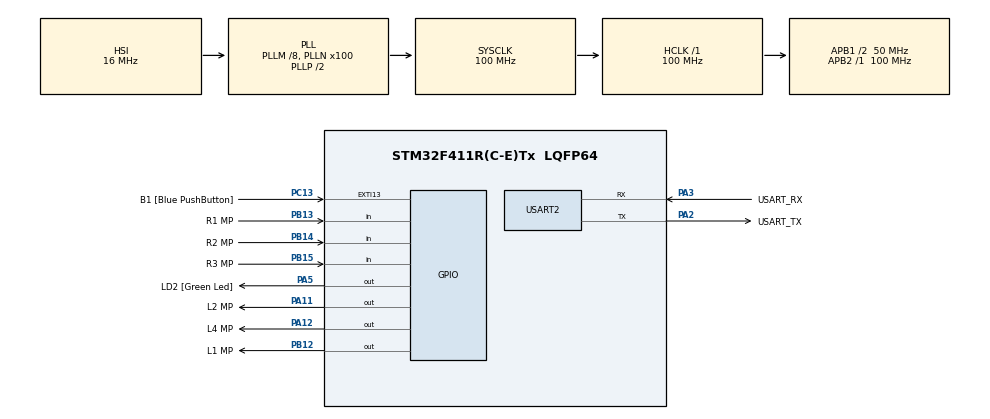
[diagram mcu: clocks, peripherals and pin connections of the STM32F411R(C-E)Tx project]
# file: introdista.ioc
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Mcu.Family=STM32F4
Mcu.Name=STM32F411R(C-E)Tx
Mcu.Package=LQFP64
NVIC.PriorityGroup=NVIC_PRIORITYGROUP_0
NVIC.TIM1_TRG_COM_TIM11_IRQn=true\:0\:0\:false\:false\:true\:true\:true
PA11.GPIO_Label=L2 MP
PA11.GPIO_ModeDefaultOutputPP=GPIO_MODE_OUTPUT_OD
PA11.GPIO_PuPd=GPIO_NOPULL
PA11.GPIO_Speed=GPIO_SPEED_FREQ_LOW
PA11.PinState=GPIO_PIN_RESET
PA11.Signal=GPIO_Output
PA12.GPIO_Label=L4 MP
PA12.GPIO_ModeDefaultOutputPP=GPIO_MODE_OUTPUT_OD
PA12.GPIO_PuPd=GPIO_NOPULL
PA12.GPIO_Speed=GPIO_SPEED_FREQ_LOW
PA12.PinState=GPIO_PIN_RESET
PA12.Signal=GPIO_Output
PA13.GPIO_Label=TMS
PA13.Mode=Serial_Wire
PA13.Signal=SYS_JTMS-SWDIO
PA14.GPIO_Label=TCK
PA14.Mode=Serial_Wire
PA14.Signal=SYS_JTCK-SWCLK
PA2.GPIO_Label=USART_TX
PA2.Mode=Asynchronous
PA2.Signal=USART2_TX
PA3.GPIO_Label=USART_RX
PA3.Mode=Asynchronous
PA3.Signal=USART2_RX
PA5.GPIO_Label=LD2 [Green Led]
PA5.Signal=GPIO_Output
PB12.GPIO_Label=L1 MP
PB12.GPIO_ModeDefaultOutputPP=GPIO_MODE_OUTPUT_OD
PB12.GPIO_PuPd=GPIO_NOPULL
PB12.GPIO_Speed=GPIO_SPEED_FREQ_LOW
PB12.PinState=GPIO_PIN_RESET
PB12.Signal=GPIO_Output
PB13.GPIO_Label=R1 MP
PB13.GPIO_Mode=GPIO_MODE_INPUT
PB13.GPIO_PuPd=GPIO_PULLUP
PB13.Signal=GPIO_Input
PB14.GPIO_Label=R2 MP
PB14.GPIO_Mode=GPIO_MODE_INPUT
PB14.GPIO_PuPd=GPIO_PULLUP
PB14.Signal=GPIO_Input
PB15.GPIO_Label=R3 MP
PB15.GPIO_Mode=GPIO_MODE_INPUT
PB15.GPIO_PuPd=GPIO_PULLUP
PB15.Signal=GPIO_Input
PB3.GPIO_Label=SWO
PB3.Signal=SYS_JTDO-SWO
PC13-ANTI_TAMP.GPIO_Label=B1 [Blue PushButton]
PC13-ANTI_TAMP.GPIO_ModeDefaultEXTI=GPIO_MODE_IT_FALLING
PC13-ANTI_TAMP.Signal=GPXTI13
PC14-OSC32_IN.Mode=LSE-External-Oscillator
PC14-OSC32_IN.Signal=RCC_OSC32_IN
PC15-OSC32_OUT.Mode=LSE-External-Oscillator
PC15-OSC32_OUT.Signal=RCC_OSC32_OUT
PH0\ -\ OSC_IN.Mode=HSE-External-Clock-Source
PH0\ -\ OSC_IN.Signal=RCC_OSC_IN
PH1\ -\ OSC_OUT.Mode=HSE-External-Clock-Source
PH1\ -\ OSC_OUT.Signal=RCC_OSC_OUT
ProjectManager.HeapSize=0x200
ProjectManager.StackSize=0x400
ProjectManager.TargetToolchain=STM32CubeIDE
RCC.48MHZClocksFreq_Value=50000000
RCC.AHBFreq_Value=100000000
RCC.APB1CLKDivider=RCC_HCLK_DIV2
RCC.APB1Freq_Value=50000000
RCC.APB1TimFreq_Value=100000000
RCC.APB2Freq_Value=100000000
RCC.APB2TimFreq_Value=100000000
RCC.CortexFreq_Value=100000000
RCC.FLatency-AdvancedSettings=FLASH_LATENCY_3
RCC.HCLKFreq_Value=100000000
RCC.HSE_VALUE=8000000
RCC.HSI_VALUE=16000000
RCC.PLLM=8
RCC.PLLN=100
RCC.SYSCLKFreq_VALUE=100000000
RCC.SYSCLKSource=RCC_SYSCLKSOURCE_PLLCLK
RCC.VCOOutputFreq_Value=200000000
TIM11.Prescaler=99
USART2.VirtualMode=VM_ASYNC
VP_TIM11_VS_ClockSourceINT.Mode=Enable_Timer
board=NUCLEO-F411RE

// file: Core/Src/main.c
/* USER CODE BEGIN Header */
/**
  ******************************************************************************
  * @file           : main.c
  * @brief          : Main program body
  ******************************************************************************
  * @attention
  *
  * Copyright (c) 2022 STMicroelectronics.
  * All rights reserved.
  *
  * This software is licensed under terms that can be found in the LICENSE file
  * in the root directory of this software component.
  * If no LICENSE file comes with this software, it is provided AS-IS.
  *
  ******************************************************************************
  */
/* USER CODE END Header */
#include "main.h"

/* USER CODE BEGIN PM */
uint64_t _micros = 0; //(5) [TIM] microsec
/* USER CODE END PM */

TIM_HandleTypeDef htim11;

UART_HandleTypeDef huart2;

/* USER CODE BEGIN PV */
// (1) [GPIO] Matrix brd
uint16_t BtnState = 0b0; // raw input
uint8_t ShiftPos = 0; // position button pressed
uint16_t CodePos  = 0; // x x x position log data before confirmed
uint16_t TargetOkPos[2] = {0}; // ok confirmed position
uint8_t MtxRdTgr = 0;  // trigger for btn manager
uint32_t BtnMtxtimestp = 0;

/* USER CODE END PV */

void SystemClock_Config(void);
static void MX_GPIO_Init(void);
static void MX_USART2_UART_Init(void);
static void MX_TIM11_Init(void);
/* USER CODE BEGIN PFP */
uint64_t micros();  // (5) [TIM] microsec func

// (1) [GPIO] Matrix brd
void BtnMtxRd();
void NumpadManager();
void BMtxShift();
/* USER CODE END PFP */

int main(void)
{

  /* MCU Configuration--------------------------------------------------------*/

  /* Reset of all peripherals, Initializes the Flash interface and the Systick. */
  HAL_Init();

  /* Configure the system clock */
  SystemClock_Config();

  /* Initialize all configured peripherals */
  MX_GPIO_Init();
  MX_USART2_UART_Init();
  MX_TIM11_Init();
  /* USER CODE BEGIN 2 */
  // (5) [TIM] Start microsec
 	HAL_TIM_Base_Start_IT(&htim11);
  /* USER CODE END 2 */

  /* Infinite loop */
  while (1)
  {

    /* USER CODE BEGIN 3 */
	  // (1) [GPIO] Function
	  BtnMtxRd();
	  NumpadManager();
  }
  /* USER CODE END 3 */
}

void SystemClock_Config(void)
{
  RCC_OscInitTypeDef RCC_OscInitStruct = {0};
  RCC_ClkInitTypeDef RCC_ClkInitStruct = {0};

  /** Configure the main internal regulator output voltage
  */
  __HAL_RCC_PWR_CLK_ENABLE();
  __HAL_PWR_VOLTAGESCALING_CONFIG(PWR_REGULATOR_VOLTAGE_SCALE1);
  /** Initializes the RCC Oscillators according to the specified parameters
  * in the RCC_OscInitTypeDef structure.
  */
  RCC_OscInitStruct.OscillatorType = RCC_OSCILLATORTYPE_HSI;
  RCC_OscInitStruct.HSIState = RCC_HSI_ON;
  RCC_OscInitStruct.HSICalibrationValue = RCC_HSICALIBRATION_DEFAULT;
  RCC_OscInitStruct.PLL.PLLState = RCC_PLL_ON;
  RCC_OscInitStruct.PLL.PLLSource = RCC_PLLSOURCE_HSI;
  RCC_OscInitStruct.PLL.PLLM = 8;
  RCC_OscInitStruct.PLL.PLLN = 100;
  RCC_OscInitStruct.PLL.PLLP = RCC_PLLP_DIV2;
  RCC_OscInitStruct.PLL.PLLQ = 4;
  if (HAL_RCC_OscConfig(&RCC_OscInitStruct) != HAL_OK)
  {
    Error_Handler();
  }
  /** Initializes the CPU, AHB and APB buses clocks
  */
  RCC_ClkInitStruct.ClockType = RCC_CLOCKTYPE_HCLK|RCC_CLOCKTYPE_SYSCLK
                              |RCC_CLOCKTYPE_PCLK1|RCC_CLOCKTYPE_PCLK2;
  RCC_ClkInitStruct.SYSCLKSource = RCC_SYSCLKSOURCE_PLLCLK;
  RCC_ClkInitStruct.AHBCLKDivider = RCC_SYSCLK_DIV1;
  RCC_ClkInitStruct.APB1CLKDivider = RCC_HCLK_DIV2;
  RCC_ClkInitStruct.APB2CLKDivider = RCC_HCLK_DIV1;

  if (HAL_RCC_ClockConfig(&RCC_ClkInitStruct, FLASH_LATENCY_3) != HAL_OK)
  {
    Error_Handler();
  }
}

static void MX_TIM11_Init(void)
{

  htim11.Instance = TIM11;
  htim11.Init.Prescaler = 99;
  htim11.Init.CounterMode = TIM_COUNTERMODE_UP;
  htim11.Init.Period = 65535;
  htim11.Init.ClockDivision = TIM_CLOCKDIVISION_DIV1;
  htim11.Init.AutoReloadPreload = TIM_AUTORELOAD_PRELOAD_DISABLE;
  if (HAL_TIM_Base_Init(&htim11) != HAL_OK)
  {
    Error_Handler();
  }

}

static void MX_USART2_UART_Init(void)
{

  huart2.Instance = USART2;
  huart2.Init.BaudRate = 115200;
  huart2.Init.WordLength = UART_WORDLENGTH_8B;
  huart2.Init.StopBits = UART_STOPBITS_1;
  huart2.Init.Parity = UART_PARITY_NONE;
  huart2.Init.Mode = UART_MODE_TX_RX;
  huart2.Init.HwFlowCtl = UART_HWCONTROL_NONE;
  huart2.Init.OverSampling = UART_OVERSAMPLING_16;
  if (HAL_UART_Init(&huart2) != HAL_OK)
  {
    Error_Handler();
  }

}

static void MX_GPIO_Init(void)
{
  GPIO_InitTypeDef GPIO_InitStruct = {0};

  /* GPIO Ports Clock Enable */
  __HAL_RCC_GPIOC_CLK_ENABLE();
  __HAL_RCC_GPIOH_CLK_ENABLE();
  __HAL_RCC_GPIOA_CLK_ENABLE();
  __HAL_RCC_GPIOB_CLK_ENABLE();

  /*Configure GPIO pin Output Level */
  HAL_GPIO_WritePin(GPIOA, LD2_Pin|L2_MP_Pin|L4_MP_Pin, GPIO_PIN_RESET);

  /*Configure GPIO pin Output Level */
  HAL_GPIO_WritePin(L1_MP_GPIO_Port, L1_MP_Pin, GPIO_PIN_RESET);

  /*Configure GPIO pin : B1_Pin */
  GPIO_InitStruct.Pin = B1_Pin;
  GPIO_InitStruct.Mode = GPIO_MODE_IT_FALLING;
  GPIO_InitStruct.Pull = GPIO_NOPULL;
  HAL_GPIO_Init(B1_GPIO_Port, &GPIO_InitStruct);

  /*Configure GPIO pin : LD2_Pin */
  GPIO_InitStruct.Pin = LD2_Pin;
  GPIO_InitStruct.Mode = GPIO_MODE_OUTPUT_PP;
  GPIO_InitStruct.Pull = GPIO_NOPULL;
  GPIO_InitStruct.Speed = GPIO_SPEED_FREQ_LOW;
  HAL_GPIO_Init(LD2_GPIO_Port, &GPIO_InitStruct);

  /*Configure GPIO pin : L1_MP_Pin */
  GPIO_InitStruct.Pin = L1_MP_Pin;
  GPIO_InitStruct.Mode = GPIO_MODE_OUTPUT_OD;
  GPIO_InitStruct.Pull = GPIO_NOPULL;
  GPIO_InitStruct.Speed = GPIO_SPEED_FREQ_LOW;
  HAL_GPIO_Init(L1_MP_GPIO_Port, &GPIO_InitStruct);

  /*Configure GPIO pins : R1_MP_Pin R2_MP_Pin R3_MP_Pin */
  GPIO_InitStruct.Pin = R1_MP_Pin|R2_MP_Pin|R3_MP_Pin;
  GPIO_InitStruct.Mode = GPIO_MODE_INPUT;
  GPIO_InitStruct.Pull = GPIO_PULLUP;
  HAL_GPIO_Init(GPIOB, &GPIO_InitStruct);

  /*Configure GPIO pins : L2_MP_Pin L4_MP_Pin */
  GPIO_InitStruct.Pin = L2_MP_Pin|L4_MP_Pin;
  GPIO_InitStruct.Mode = GPIO_MODE_OUTPUT_OD;
  GPIO_InitStruct.Pull = GPIO_NOPULL;
  GPIO_InitStruct.Speed = GPIO_SPEED_FREQ_LOW;
  HAL_GPIO_Init(GPIOA, &GPIO_InitStruct);

}

/* USER CODE BEGIN 4 */
////////////////////////// (1) [GPIO]/////////////////////////////////////////////////
/* ////  4x4 Matrix table mapping (use 3x3 only)
 *  hunderd / ten / one
 *      R1  R2  R3  R4
	L1  Uh	Ut	Uo	-	|	0	1	2	-
	L2  Dh	Dt	Do	-   |	3	4	5	-
	L3  -	-	-	-	|	-	-	-	-
	L4  ok	SZ	Cc	- 	|	6	7	8	-
*/
// 3 port input and data stock
//GPIO_TypeDef* BtnMtxPortR[3] = {R1_D3_GPIO_Port, R2_D4_GPIO_Port, R3_D5_GPIO_Port};
//uint16_t BtnMtxPinR[3] = {R1_D3_Pin, R2_D4_Pin, R3_D5_Pin};
// 4 port output and data stock
//GPIO_TypeDef* BtnMtxPortL[3] = {L1_D9_GPIO_Port,L2_D10_GPIO_Port,L4_D11_GPIO_Port};
//uint16_t BtnMtxPinL[3] = {L1_D9_Pin,L2_D10_Pin, L4_D11_Pin};
// changed 2 morpho
GPIO_TypeDef* BtnMtxPortR[3] = {R1_MP_GPIO_Port,R2_MP_GPIO_Port,R3_MP_GPIO_Port};
uint16_t BtnMtxPinR[3] = {R1_MP_Pin,R2_MP_Pin,R3_MP_Pin}; // PB13 PB14 PB15
GPIO_TypeDef* BtnMtxPortL[3] = {L1_MP_GPIO_Port, L2_MP_GPIO_Port, L4_MP_GPIO_Port};
uint16_t BtnMtxPinL[3] = {L1_MP_Pin,L2_MP_Pin,L4_MP_Pin}; // PB12 PA11 PA12

void BtnMtxRd(){// Read 4x4 Matrix button
	static uint8_t CurntL = 0; // L pos that read L1 L2 L3 L4
	static uint8_t nextL = 0;
	if(micros() - BtnMtxtimestp >= 100000){ //call every x millisec = x 000 usec
	 BtnMtxtimestp = micros(); // stamp time
		 for(int i = 0; i < 3 ; i++){
			 // read R
			 if(HAL_GPIO_ReadPin(BtnMtxPortR[i], BtnMtxPinR[i])==GPIO_PIN_RESET){ // button pressed

				 BtnState |= 1 << (i+(CurntL*3)); //ex i = 3, L = 2 => 0b0000 0100 0000 0000
				 MtxRdTgr = 1; // start matrix read and decode trigger
				}
			 else{
				 //// force 0 after unpressed 1 & x = x
				 BtnState &= ~(1 << (i+(CurntL*3)));
				 ////ex i =   0b 0100 0100 0110 0000
				 ////  ~a =   0b 1111 1011 1111 1011 // 0 & x = 0
				 //// ans =   0b 0100 0000 0110 0000
			 }
		 }
	 ////set CurrentL  L High for read//
	 HAL_GPIO_WritePin(BtnMtxPortL[CurntL], BtnMtxPinL[CurntL], GPIO_PIN_SET);
	 //// set next port Low, prepare to be read in next loop (open drain)
	 nextL = (CurntL + 1) % 3; // % 3 prevent overflow
	 HAL_GPIO_WritePin(BtnMtxPortL[nextL], BtnMtxPinL[nextL], GPIO_PIN_RESET);
	 CurntL = nextL;
	}
}
void NumpadManager(){
	if(MtxRdTgr == 1){
		BMtxShift();
		// Codepos = (CPH * 100) + (CPT * 10) + (CPO * 1);
	switch (ShiftPos){
	case 0:
		CodePos += 100; break;
	case 3:
		CodePos -= 100; break;
	case 1:
		CodePos += 10; break;
	case 4:
		CodePos -= 10; break;
	case 2:
		CodePos += 1; break;
	case 5:
		CodePos -= 1; break;

	case 6: // OK
		TargetOkPos[1] = TargetOkPos[0]; // shift old history to 1
		TargetOkPos[0] = CodePos; break; // Get new val

	case 7: // Set Zero
		TargetOkPos[0] = 0; break;
	case 8: // Cancel
		CodePos = 0; break;
	}

	// saturation [0,720]
	if (CodePos > 720){CodePos = 720;}
	if (CodePos < 0){CodePos = 0;}

	//End btnmanager
	MtxRdTgr = 0;
	}
}
void BMtxShift() // shift to the needed position
{
	//return (BtnState >> x) & 0x01;
	for(int i = 0; i < 12 ; i++)
	{
		uint8_t shifflog = (BtnState >> i) & 0x01;
		if (shifflog == 1)
		{
			//return i;
			ShiftPos = i;
			break;
		}
	}
}

////////////////////////// (5) [TIM] Microsec set using TIM11 //////////////////////
uint64_t micros()
{return _micros + htim11.Instance->CNT;}

void HAL_TIM_PeriodElapsedCallback(TIM_HandleTypeDef *htim)
{   // Tim interrupt
	if(htim == &htim11)
 {_micros += 65535;}
}

/* USER CODE END 4 */

void Error_Handler(void)
{
  __disable_irq();
  while (1)
  {
  }
}
